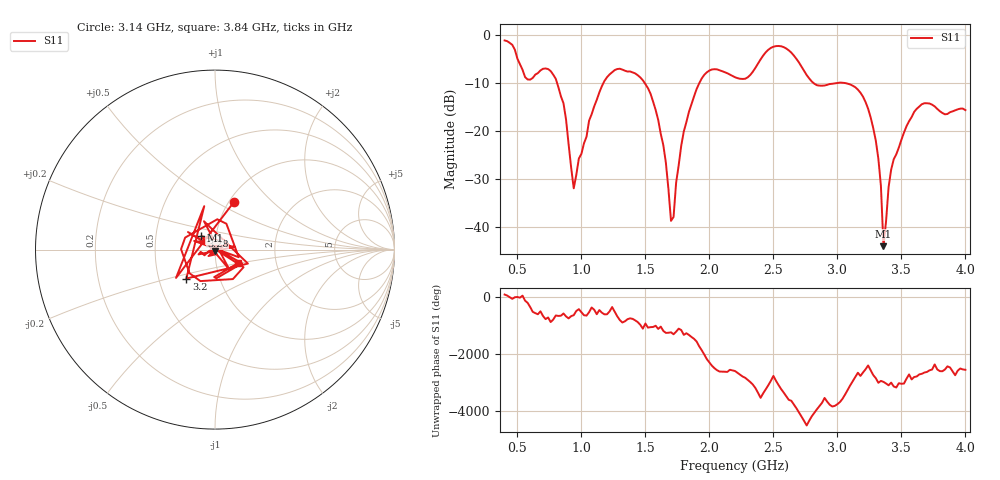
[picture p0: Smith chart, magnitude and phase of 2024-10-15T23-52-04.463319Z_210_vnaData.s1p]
! Created with skrf (http://scikit-rf.org).
# Hz S RI R 50.0
!freq ReS11 ImS11
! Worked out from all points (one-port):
!   181 points, 400 MHz to 4 GHz, reference 50 ohm
!   lowest |S11| = -44.1 dB at 3.36 GHz (marker M1), VSWR 1.01, Z = 49.8 - j0.606 ohm
!   |S11| at or under -10 dB: 809.5 MHz to 1.173 GHz (363.5 MHz wide, 36.7 % of centre); 1.493 GHz to 1.922 GHz (429.1 MHz wide, 25.1 % of centre); 3.043 GHz to end of sweep (the widest 3 of 4)
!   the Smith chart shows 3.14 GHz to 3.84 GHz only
!   S11 on the Smith chart (normalised r, x): 3.14 GHz: 1.06, +0.61; 3.2 GHz: 0.69, -0.24; 3.28 GHz: 0.85, +0.13; 3.84 GHz: 1.27, -0.20
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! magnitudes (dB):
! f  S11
! 400 MHz  -1.2
! 580 MHz  -9.3
! 760 MHz  -7.6
! 860 MHz  -14.3
! 940 MHz  -32.0
! 1.14 GHz  -12.0
! 1.3 GHz  -7.1
! 1.54 GHz  -12.3
! 1.64 GHz  -23.0
! 1.7 GHz  -38.8
! 1.76 GHz  -27.2
! 1.84 GHz  -16.1
! 1.94 GHz  -9.1
! 2.2 GHz  -8.8
! 2.5 GHz  -2.5
! 2.66 GHz  -4.3
! 2.84 GHz  -10.5
! 3.1 GHz  -10.3
! 3.14 GHz  -10.9
! 3.2 GHz  -12.9
! 3.28 GHz  -19.4
! 3.34 GHz  -31.5
! 3.36 GHz  -44.1
! 3.42 GHz  -28.1
! 3.56 GHz  -18.0
! 3.68 GHz  -14.3
! 3.84 GHz  -16.6
! 4 GHz  -15.7
